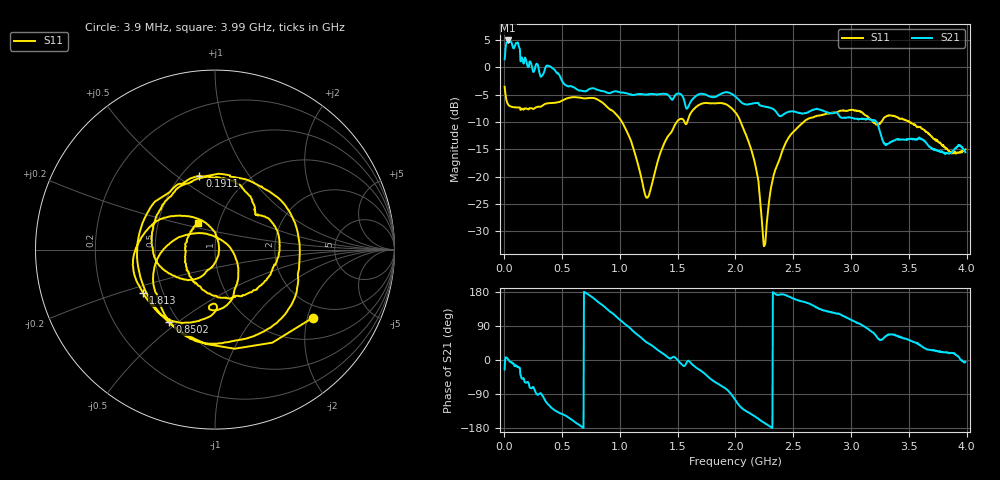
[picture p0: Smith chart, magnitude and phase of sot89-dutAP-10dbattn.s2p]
# HZ S RI R 50
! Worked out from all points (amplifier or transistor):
!   1023 points, 3.9 MHz to 3.99 GHz, reference 50 ohm
!   highest |S21| = 4.9 dB at 35.1 MHz (marker M1)
!   |S21| within 3 dB of that: 6.495 MHz to 139 MHz (132.5 MHz wide, 182 % of centre)
!   S11 on the Smith chart (normalised r, x): 3.9 MHz: 1.60, -2.17; 191.1 MHz: 0.61, +0.61; 850.2 MHz: 0.45, -0.47; 1.813 GHz: 0.39, -0.24; 3.99 GHz: 0.79, +0.25
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3900000  0.5471 -0.3783  1.07 -0.501  0 0  0 0
3.51e7  -0.3672 -0.269  1.76 0.0258  0 0  0 0
1.17e8  -0.3754 0.2068  1.61 -0.5168  0 0  0 0
1.599e8  -0.1961 0.3669  0.7581 -0.8792  0 0  0 0
1.911e8  -0.0864 0.4114  0.5741 -0.9928  0 0  0 0
4.173e8  0.4713 0.0266  -0.6035 -0.772  0 0  0 0
6.708e8  0.1657 -0.4977  -0.6089 -0.0443  0 0  0 0
8.502e8  -0.2536 -0.4041  -0.4955 0.3489  0 0  0 0
1.0647e9  -0.2518 0.0352  -0.00134 0.5771  0 0  0 0
1.2324e9  0.0286 0.0575  0.3855 0.4113  0 0  0 0
1.3338e9  0.1241 -0.0734  0.5101 0.2417  0 0  0 0
1.6497e9  -0.1243 -0.4036  0.5103 -0.1611  0 0  0 0
1.8135e9  -0.4015 -0.2405  0.2967 -0.444  0 0  0 0
1.9968e9  -0.3725 0.1168  -0.1325 -0.5272  0 0  0 0
2.1684e9  -0.031 0.13  -0.4021 -0.244  0 0  0 0
2.2503e9  0.0232 0.000447  -0.4249 -0.1059  0 0  0 0
2.418e9  -0.094 -0.1589  -0.3692 0.047  0 0  0 0
2.6637e9  -0.3467 0.00187  -0.3346 0.2322  0 0  0 0
3.0108e9  -0.0577 0.4039  -0.0874 0.3325  0 0  0 0
3.3267e9  0.3496 0.0902  0.0795 0.185  0 0  0 0
3.6153e9  0.0548 -0.2683  0.178 0.1263  0 0  0 0
3.9897e9  -0.0937 0.1505  0.1663 -0.0152  0 0  0 0
